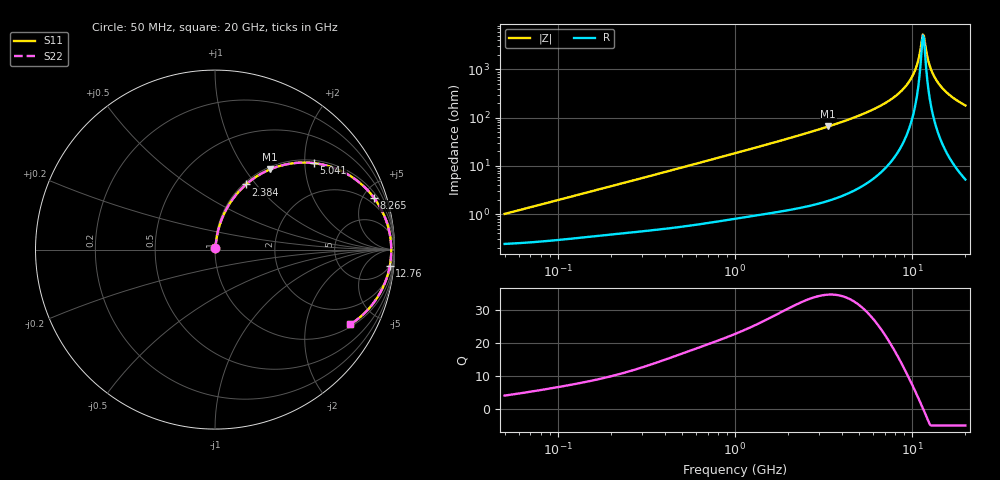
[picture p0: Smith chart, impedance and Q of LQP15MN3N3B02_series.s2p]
!Murata Part Number: LQP15MN3N3B02
!These Parameters are Measured in Series Mode Connection
!  o--[Z]--o
!Port1  Port2
!  o-------o
!Freq. Start=50[MHz] Stop=20[GHz], 401[Steps]
# Hz S RI R 50
!Freq.(Hz) S11(Real) S11(Imag) S21(Real) S21(Imag) S12(Real) S12(Imag) S22(Real) S22(Imag)
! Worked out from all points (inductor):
!   401 points, 50 MHz to 20 GHz, reference 50 ohm
!   read as one part in series: L = 3.12 nH near 51.52 MHz
!   highest Q = 34.7 at 3.364 GHz (marker M1), where L = 3.1 nH
!   self-resonance near 11.49 GHz
!   S11 on the Smith chart (normalised r, x): 50 MHz: 1.00, +0.02; 2.384 GHz: 1.03, +0.89; 5.041 GHz: 1.07, +2.22; 8.265 GHz: 1.37, +6.00; 12.76 GHz: 5, -20; 20 GHz: 1.10, -3.56
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5e7  0.00251 0.0098  0.9975 -0.0098  0.9975 -0.0098  0.00251 0.0098
1.364002e8  0.00394 0.0259  0.9961 -0.0259  0.9961 -0.0259  0.00394 0.0259
3.721004e8  0.00947 0.068  0.9905 -0.068  0.9905 -0.068  0.00947 0.068
1e9  0.0395 0.1741  0.9605 -0.1741  0.9605 -0.1741  0.0395 0.1741
2.383959e9  0.1731 0.3633  0.8269 -0.3633  0.8269 -0.3633  0.1731 0.3633
2.728004e9  0.2173 0.3978  0.7827 -0.3978  0.7827 -0.3978  0.2173 0.3978
3.364474e9  0.306 0.4466  0.694 -0.4466  0.694 -0.4466  0.306 0.4466
5.041459e9  0.5499 0.4819  0.4501 -0.4819  0.4501 -0.4819  0.5499 0.4819
7.442007e9  0.8246 0.3565  0.1754 -0.3565  0.1754 -0.3565  0.8246 0.3565
8.264682e9  0.8861 0.2883  0.1139 -0.2883  0.1139 -0.2883  0.8861 0.2883
9.316812e9  0.9406 0.1947  0.0594 -0.1947  0.0594 -0.1947  0.9406 0.1947
1.019291e10  0.9675 0.1162  0.0325 -0.1162  0.0325 -0.1162  0.9675 0.1162
1.066139e10  0.976 0.0751  0.024 -0.0751  0.024 -0.0751  0.976 0.0751
1.131968e10  0.9817 0.0193  0.0183 -0.0193  0.0183 -0.0193  0.9817 0.0193
1.149051e10  0.9821 0.00529  0.0179 -0.00529  0.0179 -0.00529  0.9821 0.00529
1.183995e10  0.9818 -0.0228  0.0182 0.0228  0.0182 0.0228  0.9818 -0.0228
1.238412e10  0.9782 -0.0648  0.0218 0.0648  0.0218 0.0648  0.9782 -0.0648
1.276073e10  0.9738 -0.0925  0.0262 0.0925  0.0262 0.0925  0.9738 -0.0925
1.375312e10  0.9561 -0.16  0.0439 0.16  0.0439 0.16  0.9561 -0.16
1.504638e10  0.923 -0.2357  0.077 0.2357  0.077 0.2357  0.923 -0.2357
1.721783e10  0.8527 -0.334  0.1473 0.334  0.1473 0.334  0.8527 -0.334
2e10  0.7542 -0.4161  0.2458 0.4161  0.2458 0.4161  0.7542 -0.4161
